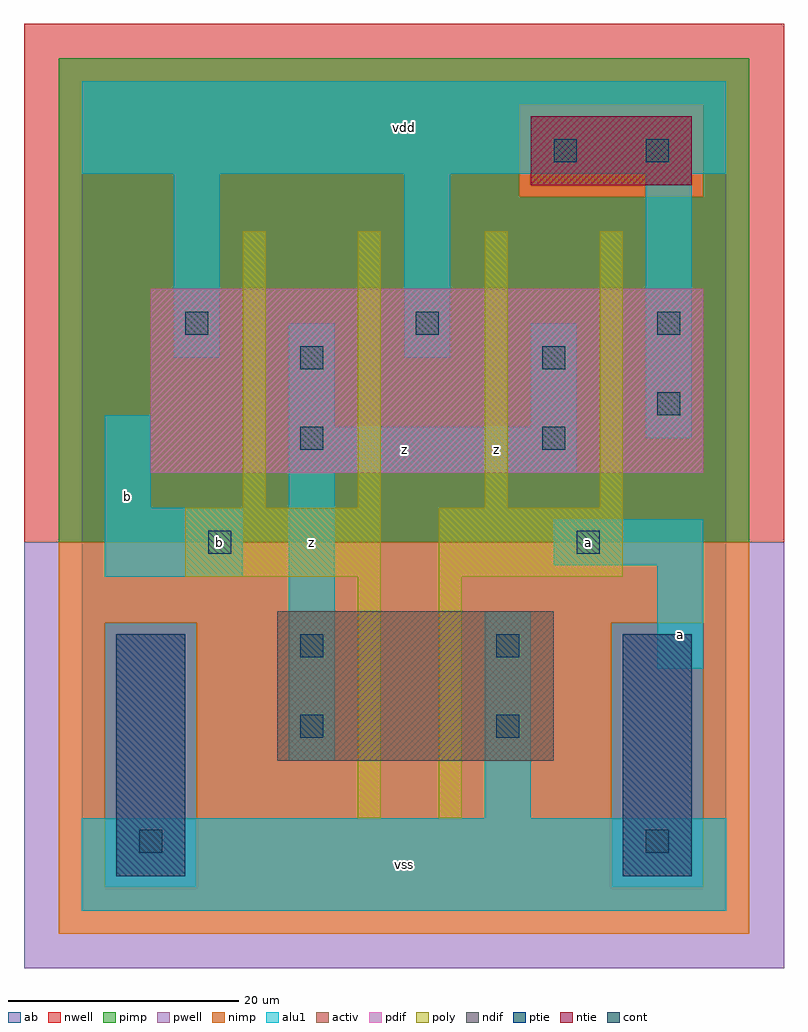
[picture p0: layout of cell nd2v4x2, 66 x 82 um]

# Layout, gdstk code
import gdstk
lib = gdstk.Library(unit=1e-6, precision=1e-09)
def R(c, l, rs):  # rectangles x0, y0, x1, y1
    for r in rs: c.add(gdstk.rectangle(r[:2], r[2:], *l))
ndif = (3, 0)
pdif = (4, 0)
ntie = (5, 0)
ptie = (6, 0)
cont = (25, 0)
pwell = (41, 0)
nwell = (42, 0)
activ = (43, 0)
pimp = (44, 0)
nimp = (45, 0)
poly = (46, 0)
alu1 = (49, 0)
ab = (63, 0)

nd2v4x2 = lib.new_cell('nd2v4x2')
R(nd2v4x2, ndif, [(17,13,41,26)])
R(nd2v4x2, pdif, [(6,38,54,54)])
R(nd2v4x2, ntie, [(39,63,53,69)])
R(nd2v4x2, ptie, [(3,3,9,24), (47,3,53,24)])
R(nd2v4x2, cont, [(5,5,7,7), (49,5,51,7), (19,15,21,17), (36,15,38,17), (19,22,21,24), (36,22,38,24), (11,31,13,33), (43,31,45,33), (19,40,21,42), (40,40,42,42), (50,43,52,45), (19,47,21,49), (40,47,42,49), (9,50,11,52), (29,50,31,52), (50,50,52,52), (41,65,43,67), (49,65,51,67)])
R(nd2v4x2, pwell, [(-5,-5,61,32)])
R(nd2v4x2, nwell, [(-5,32,61,77)])
R(nd2v4x2, activ, [(3,3,9,24), (47,3,53,24), (17,13,41,26), (6,38,54,54), (39,63,53,69)])
R(nd2v4x2, pimp, [(2,2,10,25), (46,2,54,25), (-2,32,58,62), (-2,62,38,70), (54,62,58,70), (-2,70,58,74)])
R(nd2v4x2, nimp, [(-2,-2,58,2), (-2,2,2,25), (10,2,46,25), (54,2,58,25), (-2,25,58,32), (38,62,54,70)])
R(nd2v4x2, poly, [(24,8,26,29), (31,8,33,29), (9,29,26,35), (31,29,47,35), (14,35,16,59), (24,35,26,59), (35,35,37,59), (45,35,47,59)])
R(nd2v4x2, alu1, [(0,0,56,8), (35,8,39,26), (18,13,22,38), (50,21,54,30), (2,29,14,35), (41,30,54,34), (2,35,6,43), (18,38,43,42), (49,41,53,64), (18,42,22,51), (39,42,43,51), (8,48,12,64), (28,48,32,64), (0,64,56,72)])
R(nd2v4x2, ab, [(0,0,56,72)])
nd2v4x2.add(gdstk.Label('b', (4,36), layer=49, texttype=0))
nd2v4x2.add(gdstk.Label('b', (12,32), layer=49, texttype=0))
nd2v4x2.add(gdstk.Label('z', (20,32), layer=49, texttype=0))
nd2v4x2.add(gdstk.Label('vss', (28,4), layer=49, texttype=0))
nd2v4x2.add(gdstk.Label('z', (36,40), layer=49, texttype=0))
nd2v4x2.add(gdstk.Label('z', (28,40), layer=49, texttype=0))
nd2v4x2.add(gdstk.Label('vdd', (28,68), layer=49, texttype=0))
nd2v4x2.add(gdstk.Label('a', (44,32), layer=49, texttype=0))
nd2v4x2.add(gdstk.Label('a', (52,24), layer=49, texttype=0))

lib.write_gds('nd2v4x2.gds')
